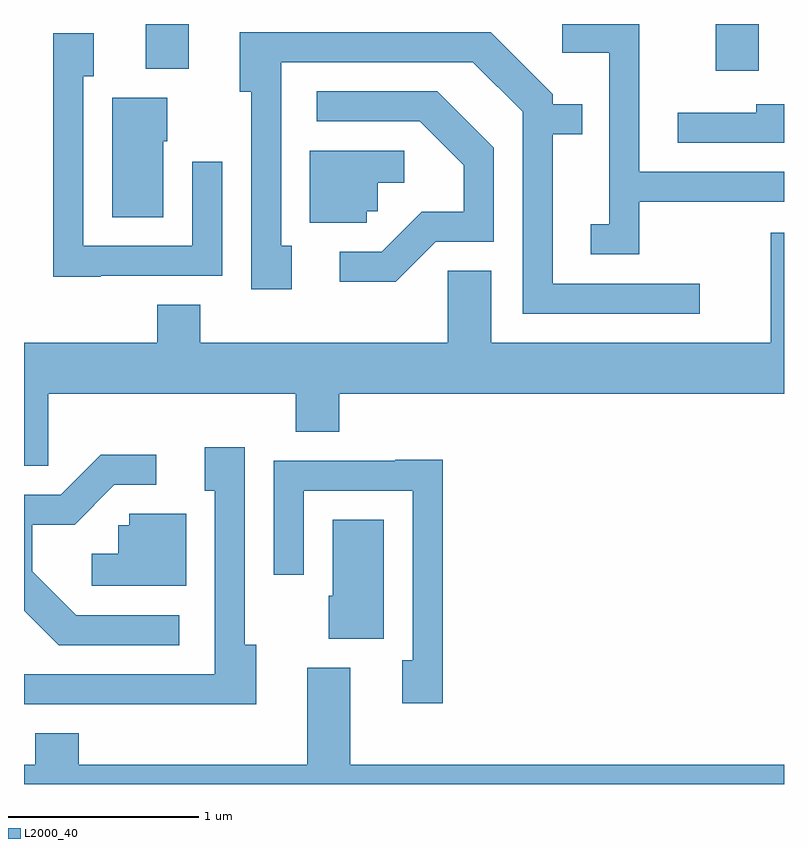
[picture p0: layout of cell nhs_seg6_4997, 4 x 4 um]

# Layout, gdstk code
import gdstk
lib = gdstk.Library(unit=1e-6, precision=1e-09)
def R(c, l, rs):  # rectangles x0, y0, x1, y1
    for r in rs: c.add(gdstk.rectangle(r[:2], r[2:], *l))
def P(c, l, *ps):  # polygons
    for p in ps: c.add(gdstk.Polygon(p, *l))
L2000_40 = (2000, 40)

nhs_seg6_4997 = lib.new_cell('nhs_seg6_4997')
R(nhs_seg6_4997, L2000_40, [(341.251,1593.916,341.479,1594.162), (338.251,1593.926,338.479,1594.162)])
P(nhs_seg6_4997, L2000_40, [(340.849,1593.226),(341.611,1593.226),(341.611,1593.384),(340.849,1593.384),(340.849,1594.162),(340.443,1594.162),(340.443,1594.011),(340.691,1594.011),(340.691,1593.109),(340.593,1593.109),(340.593,1592.951),(340.849,1592.951)],
  [(341.168,1592.794),(340.394,1592.794),(340.394,1593.581),(340.548,1593.581),(340.548,1593.739),(340.394,1593.739),(340.394,1593.792),(340.067,1594.119),(338.746,1594.119),(338.746,1593.806),(338.806,1593.806),(338.806,1592.766),(339.019,1592.766),(339.019,1592.994),(338.964,1592.994),(338.964,1593.961),(339.974,1593.961),(340.236,1593.699),(340.236,1592.636),(341.168,1592.636)],
  [(338.015,1592.836),(338.654,1592.836),(338.654,1593.438),(338.496,1593.438),(338.496,1592.994),(337.924,1592.994),(337.924,1593.886),(337.979,1593.886),(337.979,1594.114),(337.766,1594.114),(337.766,1592.831),(338.015,1592.831)],
  [(339.777,1593.016),(340.084,1593.016),(340.084,1593.512),(339.787,1593.809),(339.153,1593.809),(339.153,1593.651),(339.694,1593.651),(339.926,1593.419),(339.926,1593.174),(339.704,1593.174),(339.494,1592.964),(339.273,1592.964),(339.273,1592.806),(339.567,1592.806)],
  [(338.344,1593.546),(338.364,1593.546),(338.364,1593.774),(338.076,1593.774),(338.076,1593.146),(338.344,1593.146)],
  [(341.611,1593.739),(341.466,1593.739),(341.466,1593.694),(341.053,1593.694),(341.053,1593.536),(341.611,1593.536)],
  [(339.414,1593.176),(339.474,1593.176),(339.474,1593.326),(339.613,1593.326),(339.613,1593.494),(339.116,1593.494),(339.116,1593.116),(339.414,1593.116)],
  [(337.739,1592.216),(339.041,1592.216),(339.041,1592.016),(339.269,1592.016),(339.269,1592.216),(341.611,1592.216),(341.611,1593.064),(341.541,1593.064),(341.541,1592.484),(340.069,1592.484),(340.069,1592.864),(339.841,1592.864),(339.841,1592.484),(338.539,1592.484),(338.539,1592.684),(338.311,1592.684),(338.311,1592.484),(337.611,1592.484),(337.611,1591.836),(337.739,1591.836)],
  [(338.834,1590.894),(338.774,1590.894),(338.774,1591.934),(338.561,1591.934),(338.561,1591.706),(338.616,1591.706),(338.616,1590.739),(337.611,1590.739),(337.611,1590.581),(338.834,1590.581)],
  [(338.428,1591.049),(337.887,1591.049),(337.654,1591.282),(337.654,1591.526),(337.877,1591.526),(338.087,1591.736),(338.308,1591.736),(338.308,1591.894),(338.014,1591.894),(337.804,1591.684),(337.611,1591.684),(337.611,1591.074),(337.794,1590.891),(338.428,1590.891)],
  [(339.814,1591.869),(339.565,1591.869),(339.565,1591.864),(338.926,1591.864),(338.926,1591.263),(339.084,1591.263),(339.084,1591.706),(339.656,1591.706),(339.656,1590.814),(339.601,1590.814),(339.601,1590.586),(339.814,1590.586)],
  [(338.464,1591.584),(338.166,1591.584),(338.166,1591.524),(338.106,1591.524),(338.106,1591.374),(337.968,1591.374),(337.968,1591.206),(338.464,1591.206)],
  [(339.504,1591.554),(339.236,1591.554),(339.236,1591.154),(339.216,1591.154),(339.216,1590.926),(339.504,1590.926)],
  [(341.611,1590.264),(339.329,1590.264),(339.329,1590.774),(339.101,1590.774),(339.101,1590.264),(337.899,1590.264),(337.899,1590.429),(337.671,1590.429),(337.671,1590.264),(337.611,1590.264),(337.611,1590.162),(341.611,1590.162)])

lib.write_gds('nhs_seg6_4997.gds')
